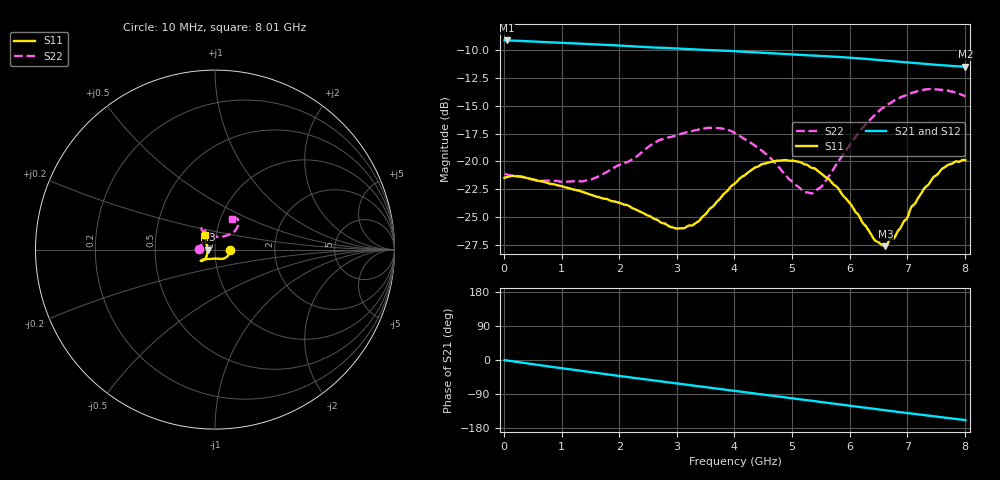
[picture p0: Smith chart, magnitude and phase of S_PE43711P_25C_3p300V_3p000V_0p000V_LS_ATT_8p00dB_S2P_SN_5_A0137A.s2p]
! Device ID: PE43711P
! File Path: z:\PE43711P\CHAR_NOM_04282014\AMB\3p300\LS_ATT_8p00dB\PE43711P_AMB_3p300V_3p000V_0p000V_LS_ATT_8p00dB_S2P_SN_5_A0137A.s2p
! Serial: 5
! Lot: A0137A
! Temp: 25C
! VDD: 3.300
! VSS: 0.000
! Control_Hi: 3.000
! Control_Lo: 0.000
! Attenuation Step: 8.00dB
! Port 1: RF1
! Port 2: RF2
! ThroughPath:1-2
! IDD: 0.0001273206
! ISS: -1.096e-007
#  Hz  S  RI  R  50
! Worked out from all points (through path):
!   801 points, 10 MHz to 8.01 GHz, reference 50 ohm
!   highest |S21| = -9.10 dB at 50 MHz (marker M1); lowest = -11.5 dB at 8.01 GHz (marker M2)
!   group delay of S21, straight-line fit = 54.7 ps
!   lowest |S11| = -27.6 dB at 6.62 GHz (marker M3), VSWR 1.09, Z = 46 - j0.00204 ohm
!   |S11| at or under -10 dB: start of sweep to end of sweep
!   |S22| runs from -22.9 to -13.5 dB; largest |S21 - S12| = 0.00078
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1e7  0.0844 -0.000192  0.3505 -0.00176  0.3507 -0.0018  -0.0881 0.000715
5e7  0.085 -0.00175  0.3505 -0.00728  0.3507 -0.00726  -0.0872 0.00232
1.35e9  0.0561 -0.0467  0.2969 -0.1636  0.2971 -0.1637  -0.0713 0.0389
2.18e9  0.0348 -0.0523  0.2307 -0.2368  0.231 -0.2369  -0.0581 0.082
2.68e9  0.0193 -0.0506  0.184 -0.2683  0.1842 -0.2684  -0.0565 0.1105
2.99e9  0.00464 -0.0496  0.1532 -0.2841  0.1533 -0.2842  -0.0586 0.1165
3.29e9  -0.0122 -0.0504  0.122 -0.2953  0.1221 -0.2956  -0.0625 0.1227
3.68e9  -0.0383 -0.0528  0.081 -0.3058  0.081 -0.3059  -0.0709 0.1224
4.01e9  -0.0582 -0.0543  0.0453 -0.3102  0.0451 -0.3104  -0.0744 0.1117
4.34e9  -0.0733 -0.0575  0.00996 -0.3098  0.00991 -0.3101  -0.0647 0.0994
4.69e9  -0.0791 -0.0616  -0.0265 -0.3053  -0.0267 -0.3053  -0.0479 0.0871
5.18e9  -0.0745 -0.0637  -0.0753 -0.2922  -0.0754 -0.2922  -0.00737 0.0734
5.35e9  -0.0708 -0.0611  -0.0917 -0.2858  -0.0918 -0.2861  0.0114 0.0709
5.53e9  -0.0646 -0.0585  -0.1086 -0.278  -0.1086 -0.2781  0.0318 0.0713
5.79e9  -0.0558 -0.052  -0.132 -0.2647  -0.1321 -0.2646  0.0611 0.0774
6.43e9  -0.0418 -0.0148  -0.1813 -0.2229  -0.1816 -0.2231  0.117 0.1112
6.62e9  -0.0415 -2.21e-05  -0.1932 -0.2089  -0.1933 -0.2093  0.1247 0.1254
6.68e9  -0.0433 0.00578  -0.1967 -0.2046  -0.1967 -0.2048  0.1266 0.1303
7.05e9  -0.0487 0.036  -0.2161 -0.1756  -0.2159 -0.1757  0.1304 0.155
7.46e9  -0.0564 0.0637  -0.2327 -0.1424  -0.2329 -0.1425  0.1191 0.1747
7.7e9  -0.0596 0.0754  -0.2404 -0.123  -0.2404 -0.1227  0.108 0.1787
8.01e9  -0.0576 0.0832  -0.2485 -0.0975  -0.2488 -0.0967  0.0966 0.1707
